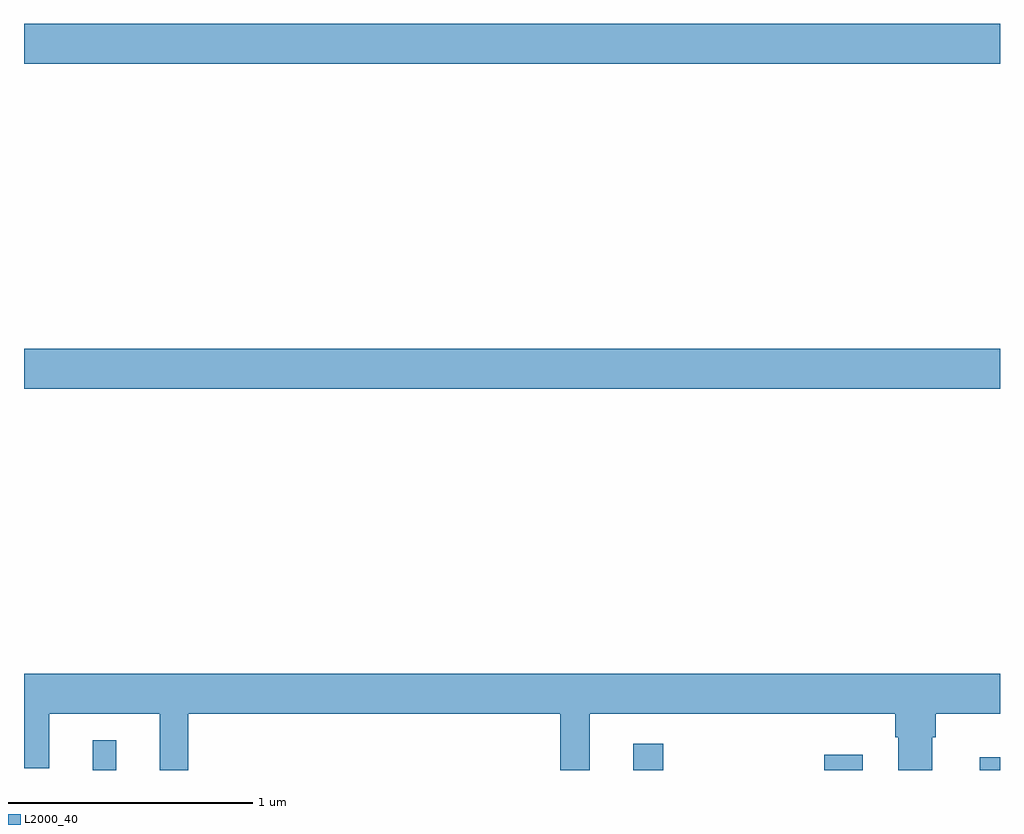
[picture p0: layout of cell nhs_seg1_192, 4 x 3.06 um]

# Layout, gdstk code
import gdstk
lib = gdstk.Library(unit=1e-6, precision=1e-09)
def R(c, l, rs):  # rectangles x0, y0, x1, y1
    for r in rs: c.add(gdstk.rectangle(r[:2], r[2:], *l))
def P(c, l, *ps):  # polygons
    for p in ps: c.add(gdstk.Polygon(p, *l))
L2000_40 = (2000, 40)

nhs_seg1_192 = lib.new_cell('nhs_seg1_192')
R(nhs_seg1_192, L2000_40, [(121.281,518.199,121.378,518.323), (123.497,518.199,123.619,518.308), (124.28,518.199,124.438,518.263), (124.916,518.199,125,518.254), (121,519.764,125,519.928), (121,521.096,125,521.26)])
P(nhs_seg1_192, L2000_40, [(121.673,518.432),(123.198,518.432),(123.198,518.199),(123.319,518.199),(123.319,518.432),(124.571,518.432),(124.571,518.336),(124.583,518.336),(124.583,518.199),(124.723,518.199),(124.723,518.336),(124.736,518.336),(124.736,518.432),(125,518.432),(125,518.596),(121,518.596),(121,518.207),(121.103,518.207),(121.103,518.432),(121.556,518.432),(121.556,518.199),(121.673,518.199)])

lib.write_gds('nhs_seg1_192.gds')
